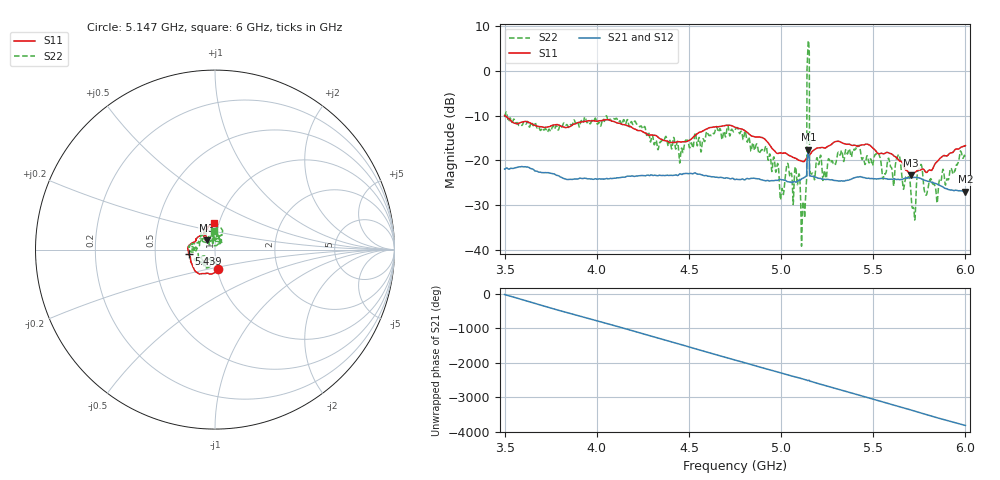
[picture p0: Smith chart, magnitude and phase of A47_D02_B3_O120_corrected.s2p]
! Created with skrf 1.9.0 (http://scikit-rf.org).
# Hz S RI R 50.0
!freq ReS11 ImS11 ReS21 ImS21 ReS12 ImS12 ReS22 ImS22
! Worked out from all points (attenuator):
!   1601 points, 3.5 GHz to 6 GHz, reference 50 ohm
!   highest |S21| = -17.63 dB at 5.148 GHz (marker M1); lowest = -27.0 dB at 6 GHz (marker M2)
!   lowest |S11| = -23.4 dB at 5.705 GHz (marker M3), VSWR 1.15, Z = 45.5 + j4.65 ohm
!   |S11| at or under -10 dB: 3.502 GHz to end of sweep
!   |S22| runs from -39.2 to 6.9 dB; largest |S21 - S12| = 0.0013
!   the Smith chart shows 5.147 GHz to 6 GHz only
!   S11 on the Smith chart (normalised r, x): 5.147 GHz: 1.01, -0.22; 5.439 GHz: 0.74, -0.03; 6 GHz: 0.95, +0.28
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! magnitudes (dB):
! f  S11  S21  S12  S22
! 3.5 GHz  -9.9  -22.0  -22.0  -10.3
! 3.917 GHz  -11.4  -24.1  -24.1  -11.1
! 4.334 GHz  -14.9  -23.4  -23.4  -17.4
! 4.75 GHz  -12.6  -24.3  -24.2  -13.1
! 4.914 GHz  -15.4  -24.6  -24.6  -17.1
! 5.005 GHz  -18.4  -24.4  -24.4  -26.4
! 5.033 GHz  -18.6  -24.8  -24.7  -20.9
! 5.088 GHz  -19.8  -24.8  -24.7  -25.5
! 5.119 GHz  -20.3  -24.0  -23.9  -29.4
! 5.127 GHz  -20.2  -23.8  -23.8  -32.1
! 5.147 GHz  -19.2  -17.7  -17.7  6.5
! 5.148 GHz  -19.1  -17.6  -17.6  6.9
! 5.153 GHz  -18.9  -19.9  -19.8  4.1
! 5.167 GHz  -18.1  -23.6  -23.5  -23.0
! 5.439 GHz  -16.5  -23.8  -23.8  -19.9
! 5.584 GHz  -18.4  -24.2  -24.2  -19.5
! 5.638 GHz  -19.9  -24.3  -24.3  -18.7
! 5.705 GHz  -23.4  -23.9  -23.9  -27.4
! 5.72 GHz  -22.8  -23.8  -23.8  -30.9
! 5.753 GHz  -22.2  -24.0  -24.0  -21.5
! 5.842 GHz  -20.5  -25.3  -25.2  -27.9
! 6 GHz  -16.7  -27.0  -27.0  -19.5
